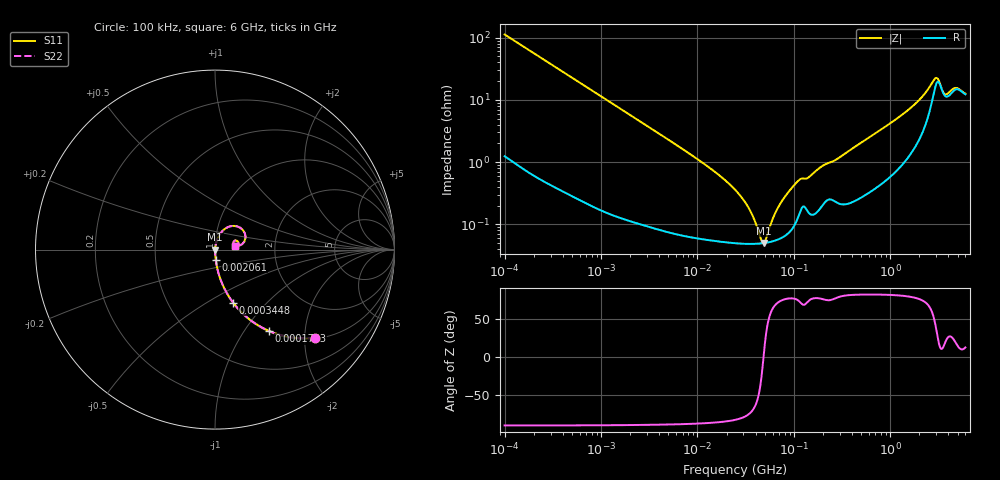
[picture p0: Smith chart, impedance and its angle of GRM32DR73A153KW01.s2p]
!Murata Part Number: GRM32DR73A153KW01
!These Parameters are Measured in Series Mode Connection
!Data Generated on Mar 30, 2021
!  o--ll--o
!Port1  Port2
!  o------o
!Operation Temp=25[degC], DC Bias Voltage=0[V]
!Freq. Start=100[kHz] Stop=6[GHz] 401[Steps]
# Hz S RI R 50
!Freq.(Hz) S11(Real) S11(Imag) S21(Real) S21(Imag) S12(Real) S12(Imag) S22(Real) S22(Imag)
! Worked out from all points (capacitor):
!   401 points, 100 kHz to 6 GHz, reference 50 ohm
!   read as one part in series: C = 14.1 nF near 105.7 kHz
!   lowest |Z| = 50.1 mohm at 48.72 MHz (marker M1)
!   series resonance near 48.37 MHz, so ESL is about 770 pH
!   S11 on the Smith chart (normalised r, x): 100 kHz: 1.02, -2.25; 173.3 kHz: 1.01, -1.30; 344.8 kHz: 1.01, -0.66; 2.061 MHz: 1.00, -0.11; 6 GHz: 1.25, +0.06
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100000  0.5584 -0.4911  0.4416 0.4911  0.4416 0.4911  0.5584 -0.4911
173344  0.3002 -0.453  0.6998 0.453  0.6998 0.453  0.3002 -0.453
344780  0.1004 -0.2949  0.8996 0.2949  0.8996 0.2949  0.1004 -0.2949
631452  0.0336 -0.1739  0.9664 0.1739  0.9664 0.1739  0.0336 -0.1739
2060590  0.00418 -0.0553  0.9958 0.0553  0.9958 0.0553  0.00418 -0.0553
3987316  0.00164 -0.0287  0.9984 0.0287  0.9984 0.0287  0.00164 -0.0287
1.337449e7  0.000619 -0.00806  0.9994 0.00806  0.9994 0.00806  0.000619 -0.00806
2.517799e7  0.000507 -0.00341  0.9995 0.00341  0.9995 0.00341  0.000507 -0.00341
3.407377e7  0.000488 -0.00175  0.9995 0.00175  0.9995 0.00175  0.000488 -0.00175
4.611257e7  0.000495 -0.000235  0.9995 0.000235  0.9995 0.000235  0.000495 -0.000235
4.872031e7  0.0005 3.62e-05  0.9995 -3.62e-05  0.9995 -3.62e-05  0.0005 3.62e-05
5.147553e7  0.000506 0.000309  0.9995 -0.000309  0.9995 -0.000309  0.000506 0.000309
6.414516e7  0.000552 0.00143  0.9994 -0.00143  0.9994 -0.00143  0.000552 0.00143
8.216224e7  0.000673 0.00281  0.9993 -0.00281  0.9993 -0.00281  0.000673 0.00281
1.111915e8  0.00135 0.00485  0.9986 -0.00485  0.9986 -0.00485  0.00135 0.00485
1.546735e8  0.00146 0.00621  0.9985 -0.00621  0.9985 -0.00621  0.00146 0.00621
9.76689e8  0.00723 0.0402  0.9928 -0.0402  0.9928 -0.0402  0.00723 0.0402
2.10973e9  0.0373 0.0995  0.9627 -0.0995  0.9627 -0.0995  0.0373 0.0995
2.934752e9  0.1553 0.1095  0.8447 -0.1095  0.8447 -0.1095  0.1553 0.1095
3.65708e9  0.1066 0.0305  0.8934 -0.0305  0.8934 -0.0305  0.1066 0.0305
4.814911e9  0.1305 0.0368  0.8695 -0.0368  0.8695 -0.0368  0.1305 0.0368
6e9  0.1101 0.0227  0.8899 -0.0227  0.8899 -0.0227  0.1101 0.0227
